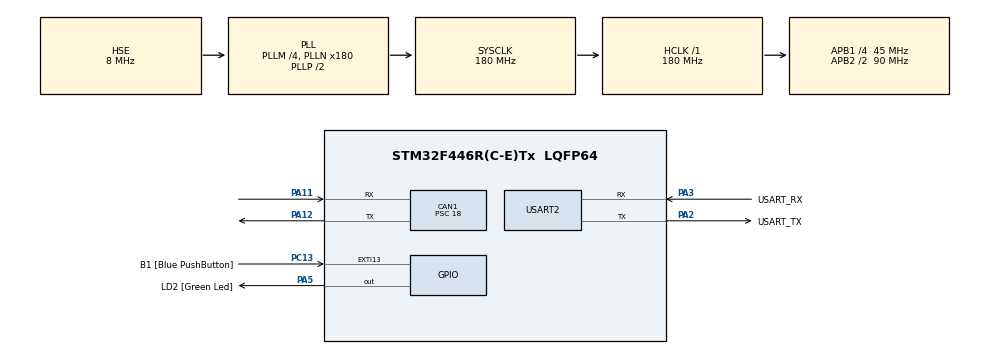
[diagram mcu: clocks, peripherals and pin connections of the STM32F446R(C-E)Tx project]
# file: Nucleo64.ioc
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CAN1.BS1=CAN_BS1_2TQ
CAN1.BS2=CAN_BS2_2TQ
CAN1.CalculateBaudRate=500000
CAN1.CalculateTimeBit=2000
CAN1.CalculateTimeQuantum=400.0
CAN1.Prescaler=18
Mcu.Family=STM32F4
Mcu.Name=STM32F446R(C-E)Tx
Mcu.Package=LQFP64
NVIC.CAN1_RX0_IRQn=true\:0\:0\:false\:false\:true\:true\:true\:true
NVIC.PriorityGroup=NVIC_PRIORITYGROUP_0
PA11.Mode=CAN_Activate
PA11.Signal=CAN1_RX
PA12.Mode=CAN_Activate
PA12.Signal=CAN1_TX
PA13.GPIO_Label=TMS
PA13.Mode=Serial_Wire
PA13.Signal=SYS_JTMS-SWDIO
PA14.GPIO_Label=TCK
PA14.Mode=Serial_Wire
PA14.Signal=SYS_JTCK-SWCLK
PA2.GPIO_Label=USART_TX
PA2.Mode=Asynchronous
PA2.Signal=USART2_TX
PA3.GPIO_Label=USART_RX
PA3.Mode=Asynchronous
PA3.Signal=USART2_RX
PA5.GPIO_Label=LD2 [Green Led]
PA5.Signal=GPIO_Output
PB3.GPIO_Label=SWO
PB3.Signal=SYS_JTDO-SWO
PC13.GPIO_Label=B1 [Blue PushButton]
PC13.GPIO_ModeDefaultEXTI=GPIO_MODE_IT_FALLING
PC13.Signal=GPXTI13
PC14-OSC32_IN.Mode=LSE-External-Oscillator
PC14-OSC32_IN.Signal=RCC_OSC32_IN
PC15-OSC32_OUT.Mode=LSE-External-Oscillator
PC15-OSC32_OUT.Signal=RCC_OSC32_OUT
PH0-OSC_IN.Mode=HSE-External-Oscillator
PH0-OSC_IN.Signal=RCC_OSC_IN
PH1-OSC_OUT.Mode=HSE-External-Oscillator
PH1-OSC_OUT.Signal=RCC_OSC_OUT
ProjectManager.HeapSize=0x200
ProjectManager.StackSize=0x400
ProjectManager.TargetToolchain=STM32CubeIDE
RCC.48MHZClocksFreq_Value=84000000
RCC.AHBFreq_Value=180000000
RCC.APB1CLKDivider=RCC_HCLK_DIV4
RCC.APB1Freq_Value=45000000
RCC.APB1TimFreq_Value=90000000
RCC.APB2CLKDivider=RCC_HCLK_DIV2
RCC.APB2Freq_Value=90000000
RCC.APB2TimFreq_Value=180000000
RCC.CortexFreq_Value=180000000
RCC.FLatency-AdvancedSettings=FLASH_LATENCY_5
RCC.HCLKFreq_Value=180000000
RCC.HSE_VALUE=8000000
RCC.HSI_VALUE=16000000
RCC.PLLM=4
RCC.PLLN=180
RCC.PLLSourceVirtual=RCC_PLLSOURCE_HSE
RCC.SYSCLKFreq_VALUE=180000000
RCC.SYSCLKSource=RCC_SYSCLKSOURCE_PLLCLK
RCC.USBFreq_Value=180000000
RCC.VCOOutputFreq_Value=360000000
USART2.VirtualMode=VM_ASYNC
board=NUCLEO-F446RE

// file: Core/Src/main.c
/* USER CODE BEGIN Header */
/**
  ******************************************************************************
  * @file           : main.c
  * @brief          : Main program body
  ******************************************************************************
  * @attention
  *
  * Copyright (c) 2024 STMicroelectronics.
  * All rights reserved.
  *
  * This software is licensed under terms that can be found in the LICENSE file
  * in the root directory of this software component.
  * If no LICENSE file comes with this software, it is provided AS-IS.
  *
  ******************************************************************************
  */
/* USER CODE END Header */
#include "main.h"

CAN_HandleTypeDef hcan1;

UART_HandleTypeDef huart2;

void SystemClock_Config(void);
static void MX_GPIO_Init(void);
static void MX_USART2_UART_Init(void);
static void MX_CAN1_Init(void);

/* USER CODE BEGIN 0 */
uint32_t dataReceived = 0;
CAN_RxHeaderTypeDef   RxHeader;
uint8_t               RxData[3];

void HAL_CAN_RxFifo0MsgPendingCallback(CAN_HandleTypeDef *hcan)
{
  if (HAL_CAN_GetRxMessage(hcan, CAN_RX_FIFO0, &RxHeader, RxData) != HAL_OK)
  {
    Error_Handler();
  }
  if ((RxHeader.StdId == 0x103))
  {
	  dataReceived = 1;
  }
}

//void HAL_CAN_RxFifo0MsgPendingCallback(CAN_HandleTypeDef *hcan)
//{
//	HAL_CAN_GetRxMessage(hcan, CAN_RX_FIFO0, &RxHeader, RxData);
//	if (RxHeader.DLC == 2)
//	{
//		datacheck = 1;
//	}
//}

/* USER CODE END 0 */
uint32_t delayMSB = 0;
uint32_t delayLSB = 0;
uint32_t itteration = 0;

uint32_t finalDelay = 0;

int main(void)
{

  /* MCU Configuration--------------------------------------------------------*/

  /* Reset of all peripherals, Initializes the Flash interface and the Systick. */
  HAL_Init();

  /* Configure the system clock */
  SystemClock_Config();

  /* Initialize all configured peripherals */
  MX_GPIO_Init();
  MX_USART2_UART_Init();
  MX_CAN1_Init();
  HAL_CAN_Start(&hcan1);  /* USER CODE BEGIN 2 */
  if (HAL_CAN_ActivateNotification(&hcan1, CAN_IT_RX_FIFO0_MSG_PENDING) != HAL_OK)
  {
	  Error_Handler();
  }

  /* USER CODE END 2 */

  /* Infinite loop */
  while (1)
  {
	  if(dataReceived)
	    {
	  	  delayMSB = RxData[0];
	  	  delayLSB = RxData[1];
	  	  itteration = RxData[2];
	  	  finalDelay = (delayMSB << 8) | delayLSB;

	  	  for(int i = 0; i < itteration; i++)
	  	  {
	  		 HAL_GPIO_WritePin(GPIOA, GPIO_PIN_5, GPIO_PIN_SET);
	  		 HAL_Delay(finalDelay);
	  		 HAL_GPIO_WritePin(GPIOA, GPIO_PIN_5, GPIO_PIN_RESET);
	  		 HAL_Delay(finalDelay);
	  	  }
	  	  dataReceived = 0;
	    }

  }
}

void SystemClock_Config(void)
{
  RCC_OscInitTypeDef RCC_OscInitStruct = {0};
  RCC_ClkInitTypeDef RCC_ClkInitStruct = {0};

  /** Configure the main internal regulator output voltage
  */
  __HAL_RCC_PWR_CLK_ENABLE();
  __HAL_PWR_VOLTAGESCALING_CONFIG(PWR_REGULATOR_VOLTAGE_SCALE1);

  /** Initializes the RCC Oscillators according to the specified parameters
  * in the RCC_OscInitTypeDef structure.
  */
  RCC_OscInitStruct.OscillatorType = RCC_OSCILLATORTYPE_HSE;
  RCC_OscInitStruct.HSEState = RCC_HSE_ON;
  RCC_OscInitStruct.PLL.PLLState = RCC_PLL_ON;
  RCC_OscInitStruct.PLL.PLLSource = RCC_PLLSOURCE_HSE;
  RCC_OscInitStruct.PLL.PLLM = 4;
  RCC_OscInitStruct.PLL.PLLN = 180;
  RCC_OscInitStruct.PLL.PLLP = RCC_PLLP_DIV2;
  RCC_OscInitStruct.PLL.PLLQ = 2;
  RCC_OscInitStruct.PLL.PLLR = 2;
  if (HAL_RCC_OscConfig(&RCC_OscInitStruct) != HAL_OK)
  {
    Error_Handler();
  }

  /** Activate the Over-Drive mode
  */
  if (HAL_PWREx_EnableOverDrive() != HAL_OK)
  {
    Error_Handler();
  }

  /** Initializes the CPU, AHB and APB buses clocks
  */
  RCC_ClkInitStruct.ClockType = RCC_CLOCKTYPE_HCLK|RCC_CLOCKTYPE_SYSCLK
                              |RCC_CLOCKTYPE_PCLK1|RCC_CLOCKTYPE_PCLK2;
  RCC_ClkInitStruct.SYSCLKSource = RCC_SYSCLKSOURCE_PLLCLK;
  RCC_ClkInitStruct.AHBCLKDivider = RCC_SYSCLK_DIV1;
  RCC_ClkInitStruct.APB1CLKDivider = RCC_HCLK_DIV4;
  RCC_ClkInitStruct.APB2CLKDivider = RCC_HCLK_DIV2;

  if (HAL_RCC_ClockConfig(&RCC_ClkInitStruct, FLASH_LATENCY_5) != HAL_OK)
  {
    Error_Handler();
  }
}

static void MX_CAN1_Init(void)
{

  hcan1.Instance = CAN1;
  hcan1.Init.Prescaler = 18;
  hcan1.Init.Mode = CAN_MODE_NORMAL;
  hcan1.Init.SyncJumpWidth = CAN_SJW_1TQ;
  hcan1.Init.TimeSeg1 = CAN_BS1_2TQ;
  hcan1.Init.TimeSeg2 = CAN_BS2_2TQ;
  hcan1.Init.TimeTriggeredMode = DISABLE;
  hcan1.Init.AutoBusOff = DISABLE;
  hcan1.Init.AutoWakeUp = DISABLE;
  hcan1.Init.AutoRetransmission = DISABLE;
  hcan1.Init.ReceiveFifoLocked = DISABLE;
  hcan1.Init.TransmitFifoPriority = DISABLE;
  if (HAL_CAN_Init(&hcan1) != HAL_OK)
  {
    Error_Handler();
  }
  /* USER CODE BEGIN CAN1_Init 2 */
  CAN_FilterTypeDef canfilterconfig;

  canfilterconfig.FilterActivation = CAN_FILTER_ENABLE;
  canfilterconfig.FilterBank = 10;  // which filter bank to use from the assigned ones
  canfilterconfig.FilterFIFOAssignment = CAN_FILTER_FIFO0;
  canfilterconfig.FilterIdHigh = 0x103 << 5;
  canfilterconfig.FilterIdLow = 0;
  canfilterconfig.FilterMaskIdHigh = 0x103 << 5;
  canfilterconfig.FilterMaskIdLow = 0x0000;
  canfilterconfig.FilterMode = CAN_FILTERMODE_IDMASK;
  canfilterconfig.FilterScale = CAN_FILTERSCALE_32BIT;
  canfilterconfig.SlaveStartFilterBank = 20;  // how many filters to assign to the CAN1 (master can)

  HAL_CAN_ConfigFilter(&hcan1, &canfilterconfig);

  /* USER CODE END CAN1_Init 2 */

}

static void MX_USART2_UART_Init(void)
{

  huart2.Instance = USART2;
  huart2.Init.BaudRate = 115200;
  huart2.Init.WordLength = UART_WORDLENGTH_8B;
  huart2.Init.StopBits = UART_STOPBITS_1;
  huart2.Init.Parity = UART_PARITY_NONE;
  huart2.Init.Mode = UART_MODE_TX_RX;
  huart2.Init.HwFlowCtl = UART_HWCONTROL_NONE;
  huart2.Init.OverSampling = UART_OVERSAMPLING_16;
  if (HAL_UART_Init(&huart2) != HAL_OK)
  {
    Error_Handler();
  }

}

static void MX_GPIO_Init(void)
{
  GPIO_InitTypeDef GPIO_InitStruct = {0};

  /* GPIO Ports Clock Enable */
  __HAL_RCC_GPIOC_CLK_ENABLE();
  __HAL_RCC_GPIOH_CLK_ENABLE();
  __HAL_RCC_GPIOA_CLK_ENABLE();
  __HAL_RCC_GPIOB_CLK_ENABLE();

  /*Configure GPIO pin Output Level */
  HAL_GPIO_WritePin(LD2_GPIO_Port, LD2_Pin, GPIO_PIN_RESET);

  /*Configure GPIO pin : B1_Pin */
  GPIO_InitStruct.Pin = B1_Pin;
  GPIO_InitStruct.Mode = GPIO_MODE_IT_FALLING;
  GPIO_InitStruct.Pull = GPIO_NOPULL;
  HAL_GPIO_Init(B1_GPIO_Port, &GPIO_InitStruct);

  /*Configure GPIO pin : LD2_Pin */
  GPIO_InitStruct.Pin = LD2_Pin;
  GPIO_InitStruct.Mode = GPIO_MODE_OUTPUT_PP;
  GPIO_InitStruct.Pull = GPIO_NOPULL;
  GPIO_InitStruct.Speed = GPIO_SPEED_FREQ_LOW;
  HAL_GPIO_Init(LD2_GPIO_Port, &GPIO_InitStruct);

}

void Error_Handler(void)
{
  __disable_irq();
  while (1)
  {
  }
}
